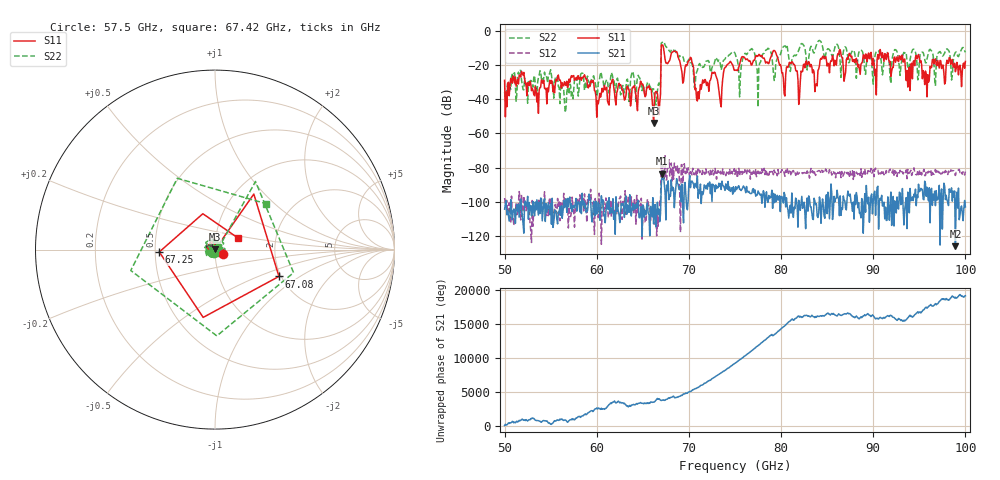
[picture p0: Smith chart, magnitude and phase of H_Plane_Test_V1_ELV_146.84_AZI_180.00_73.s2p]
! 11/27/2026 8:50:49 AM
! C:\ANRITSUVNA\TEMP\TEMP.S2P
! CHANNEL.1
! TR.MEASUREMENT
! RAW.DATA
# HZ S RI R 50.0
! FREQ.HZ  S11RE  S11IM  S21RE  S21IM  S12RE  S12IM  S22RE  S22IM
!; PortSelection: Port_12
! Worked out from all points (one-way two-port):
!   601 points, 50 GHz to 100 GHz, reference 50 ohm
!   highest |S21| = -83.60 dB at 67.08 GHz (marker M1); lowest = -126.0 dB at 98.92 GHz (marker M2)
!   lowest |S11| = -53.8 dB at 66.17 GHz (marker M3), VSWR 1.00, Z = 50.1 + j0.148 ohm
!   |S11| at or under -10 dB: start of sweep to 67 GHz; 67.24 GHz to end of sweep
!   |S22| runs from -47.8 to -5.6 dB; largest |S21 - S12| = 0.00024
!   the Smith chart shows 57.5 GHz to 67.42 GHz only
!   S11 on the Smith chart (normalised r, x): 57.5 GHz: 1.09, -0.05; 67.08 GHz: 1.95, -0.68; 67.25 GHz: 0.53, -0.02; 67.42 GHz: 1.29, +0.17
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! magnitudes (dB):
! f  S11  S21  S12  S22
! 50 GHz  -29.0  -104.4  -97.9  -35.8
! 51.67 GHz  -26.2  -101.9  -98.0  -23.2
! 53.42 GHz  -34.7  -104.8  -100.7  -35.3
! 57.5 GHz  -26.1  -102.2  -105.4  -34.5
! 58.42 GHz  -27.1  -95.0  -99.6  -24.7
! 60.17 GHz  -42.6  -100.2  -109.3  -30.3
! 66.17 GHz  -53.8  -113.0  -108.0  -34.0
! 66.67 GHz  -41.8  -107.3  -114.3  -31.6
! 67.08 GHz  -8.3  -83.6  -83.5  -6.8
! 67.25 GHz  -10.2  -85.3  -86.7  -6.3
! 67.42 GHz  -16.8  -94.8  -73.1  -8.4
! 70.25 GHz  -15.9  -88.2  -83.4  -18.8
! 70.92 GHz  -41.0  -84.9  -83.0  -23.1
! 75 GHz  -23.1  -93.8  -84.0  -13.0
! 77.58 GHz  -13.8  -94.6  -84.4  -22.0
! 78.58 GHz  -19.0  -100.4  -83.2  -10.1
! 79.25 GHz  -11.4  -100.6  -81.4  -29.0
! 80.25 GHz  -27.9  -100.8  -81.9  -9.3
! 83.42 GHz  -24.6  -109.9  -81.9  -10.9
! 91.67 GHz  -16.6  -103.3  -83.0  -15.3
! 98.92 GHz  -23.9  -126.0  -84.6  -12.6
! 100 GHz  -17.9  -103.1  -82.4  -12.6
